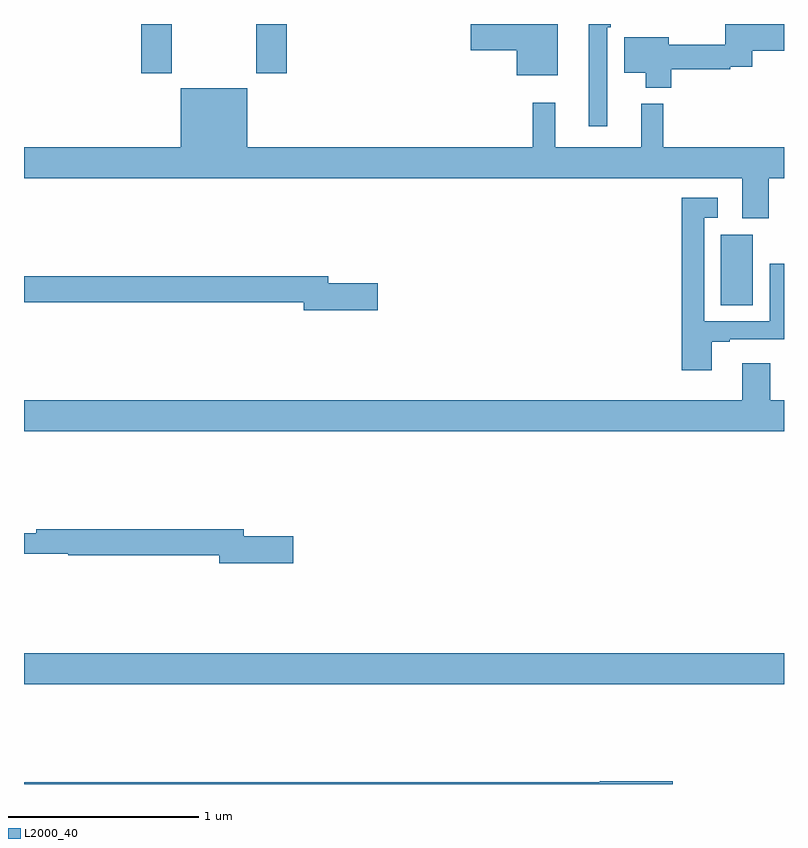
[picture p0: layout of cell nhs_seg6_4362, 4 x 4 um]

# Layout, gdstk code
import gdstk
lib = gdstk.Library(unit=1e-6, precision=1e-09)
def R(c, l, rs):  # rectangles x0, y0, x1, y1
    for r in rs: c.add(gdstk.rectangle(r[:2], r[2:], *l))
def P(c, l, *ps):  # polygons
    for p in ps: c.add(gdstk.Polygon(p, *l))
L2000_40 = (2000, 40)

nhs_seg6_4362 = lib.new_cell('nhs_seg6_4362')
R(nhs_seg6_4362, L2000_40, [(369,926.024,373,926.188), (372.668,928.021,372.835,928.392), (369.617,929.241,369.777,929.5), (370.222,929.241,370.382,929.5)])
P(nhs_seg6_4362, L2000_40, [(371.809,929.5),(371.352,929.5),(371.352,929.363),(371.594,929.363),(371.594,929.231),(371.809,929.231)],
  [(372.407,929.262),(372.716,929.262),(372.716,929.274),(372.833,929.274),(372.833,929.36),(373,929.36),(373,929.5),(372.692,929.5),(372.692,929.39),(372.394,929.39),(372.394,929.431),(372.158,929.431),(372.158,929.243),(372.272,929.243),(372.272,929.165),(372.407,929.165)],
  [(372.069,929.483),(372.089,929.483),(372.089,929.5),(371.972,929.5),(371.972,928.962),(372.069,928.962)],
  [(372.919,928.688),(373,928.688),(373,928.852),(372.365,928.852),(372.365,929.08),(372.248,929.08),(372.248,928.852),(371.795,928.852),(371.795,929.086),(371.677,929.086),(371.677,928.852),(370.174,928.852),(370.174,929.161),(369.824,929.161),(369.824,928.852),(369,928.852),(369,928.688),(372.779,928.688),(372.779,928.477),(372.919,928.477)],
  [(372.619,927.828),(372.715,927.828),(372.715,927.84),(373,927.84),(373,928.237),(372.924,928.237),(372.924,927.936),(372.579,927.936),(372.579,928.479),(372.652,928.479),(372.652,928.585),(372.463,928.585),(372.463,927.678),(372.619,927.678)],
  [(370.861,928.136),(370.6,928.136),(370.6,928.172),(369,928.172),(369,928.036),(370.472,928.036),(370.472,927.994),(370.861,927.994)],
  [(373,927.52),(372.927,927.52),(372.927,927.715),(372.779,927.715),(372.779,927.52),(369,927.52),(369,927.356),(373,927.356)],
  [(370.417,926.804),(370.156,926.804),(370.156,926.84),(369.064,926.84),(369.064,926.821),(369,926.821),(369,926.712),(369.232,926.712),(369.232,926.704),(370.028,926.704),(370.028,926.662),(370.417,926.662)],
  [(372.415,925.514),(372.03,925.514),(372.03,925.508),(369,925.508),(369,925.5),(372.415,925.5)])

lib.write_gds('nhs_seg6_4362.gds')
